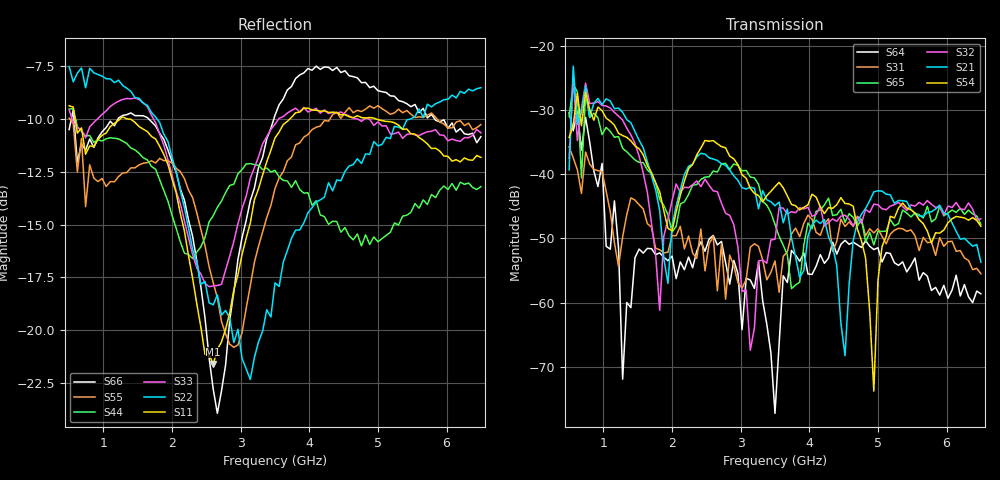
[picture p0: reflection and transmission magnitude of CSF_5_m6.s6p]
!Keysight Technologies,M9804A,MY58100912,A.14.10.03
!Date: Thursday, April 27, 2023 10:28:33
!Correction: S11(C  6-Port  )
!S12(C  6-Port  )
!S13(C  6-Port  )
!S14(C  6-Port  )
!S15(C  6-Port  )
!S16(C  6-Port  )
!S21(C  6-Port  )
!S22(C  6-Port  )
!S23(C  6-Port  )
!S24(C  6-Port  )
!S25(C  6-Port  )
!S26(C  6-Port  )
!S31(C  6-Port  )
!S32(C  6-Port  )
!S33(C  6-Port  )
!S34(C  6-Port  )
!S35(C  6-Port  )
!S36(C  6-Port  )
!S41(C  6-Port  )
!S42(C  6-Port  )
!S43(C  6-Port  )
!S44(C  6-Port  )
!S45(C  6-Port  )
!S46(C  6-Port  )
!S51(C  6-Port  )
!S52(C  6-Port  )
!S53(C  6-Port  )
!S54(C  6-Port  )
!S55(C  6-Port  )
!S56(C  6-Port  )
!S61(C  6-Port  )
!S62(C  6-Port  )
!S63(C  6-Port  )
!S64(C  6-Port  )
!S65(C  6-Port  )
!S66(C  6-Port  )
!S6P File: Measurement: :
# Hz S  RI  R 50
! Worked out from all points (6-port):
!   101 points, 500 MHz to 6.5 GHz, reference 50 ohm
!   strongest paths, dB at 500 MHz, 2 GHz, 3.5 GHz, 5 GHz, 6.5 GHz:
!     S54: -34.3, -48.8, -41.9, -56.6, -48.1
!     S21: -39.3, -48.0, -44.9, -42.6, -53.7
!     S32: -37.5, -44.1, -50.1, -44.8, -46.9
!     S65: -31.0, -49.0, -47.8, -48.9, -47.8
!     S31: -35.7, -49.6, -53.5, -48.5, -55.5
!     S64: -30.5, -52.7, -77.2, -51.4, -58.6
!   lowest |S11| = -21.6 dB at 2.6 GHz (marker M1), VSWR 1.18, Z = 42.6 + j2.06 ohm
!   |S11| at or under -10 dB: 587.5 MHz to 1.243 GHz (655.2 MHz wide, 71.6 % of centre); 1.362 GHz to 3.716 GHz (2.354 GHz wide, 92.7 % of centre); 4.975 GHz to end of sweep
